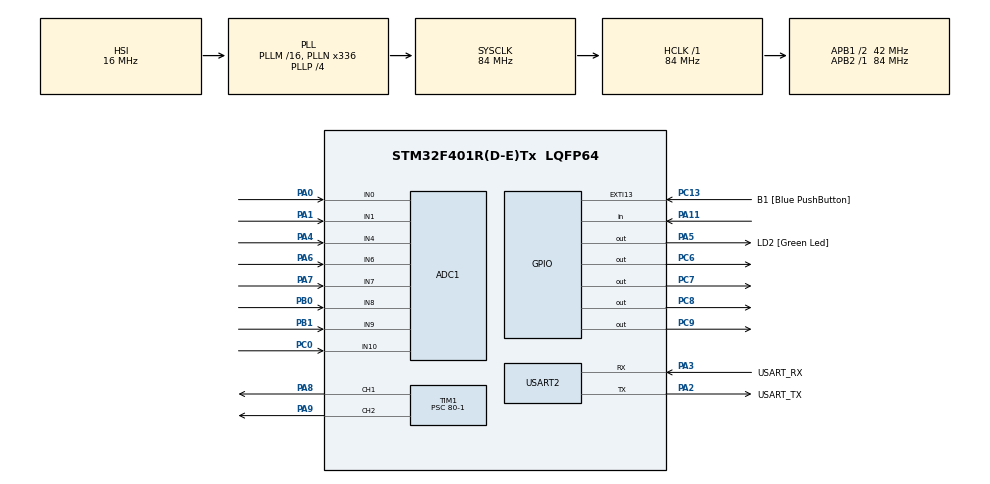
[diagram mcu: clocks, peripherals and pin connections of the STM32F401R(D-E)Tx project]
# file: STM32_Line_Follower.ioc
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ADC1.Channel-0\#ChannelRegularConversion=ADC_CHANNEL_0
ADC1.Channel-1\#ChannelRegularConversion=ADC_CHANNEL_1
ADC1.Channel-2\#ChannelRegularConversion=ADC_CHANNEL_4
ADC1.Channel-3\#ChannelRegularConversion=ADC_CHANNEL_6
ADC1.Channel-4\#ChannelRegularConversion=ADC_CHANNEL_7
ADC1.Channel-5\#ChannelRegularConversion=ADC_CHANNEL_8
ADC1.Channel-6\#ChannelRegularConversion=ADC_CHANNEL_9
ADC1.Channel-7\#ChannelRegularConversion=ADC_CHANNEL_10
ADC1.ContinuousConvMode=ENABLE
ADC1.DMAContinuousRequests=ENABLE
ADC1.NbrOfConversion=8
ADC1.NbrOfConversionFlag=1
ADC1.Rank-0\#ChannelRegularConversion=1
ADC1.Rank-1\#ChannelRegularConversion=2
ADC1.Rank-2\#ChannelRegularConversion=3
ADC1.Rank-3\#ChannelRegularConversion=4
ADC1.Rank-4\#ChannelRegularConversion=5
ADC1.Rank-5\#ChannelRegularConversion=6
ADC1.Rank-6\#ChannelRegularConversion=7
ADC1.Rank-7\#ChannelRegularConversion=8
ADC1.SamplingTime-0\#ChannelRegularConversion=ADC_SAMPLETIME_3CYCLES
ADC1.SamplingTime-1\#ChannelRegularConversion=ADC_SAMPLETIME_3CYCLES
ADC1.SamplingTime-2\#ChannelRegularConversion=ADC_SAMPLETIME_3CYCLES
ADC1.SamplingTime-3\#ChannelRegularConversion=ADC_SAMPLETIME_3CYCLES
ADC1.SamplingTime-4\#ChannelRegularConversion=ADC_SAMPLETIME_3CYCLES
ADC1.SamplingTime-5\#ChannelRegularConversion=ADC_SAMPLETIME_3CYCLES
ADC1.SamplingTime-6\#ChannelRegularConversion=ADC_SAMPLETIME_3CYCLES
ADC1.SamplingTime-7\#ChannelRegularConversion=ADC_SAMPLETIME_3CYCLES
ADC1.ScanConvMode=ENABLE
ADC1.master=1
Dma.ADC1.0.Direction=DMA_PERIPH_TO_MEMORY
Dma.ADC1.0.FIFOMode=DMA_FIFOMODE_DISABLE
Dma.ADC1.0.Instance=DMA2_Stream0
Dma.ADC1.0.MemDataAlignment=DMA_MDATAALIGN_HALFWORD
Dma.ADC1.0.MemInc=DMA_MINC_ENABLE
Dma.ADC1.0.Mode=DMA_CIRCULAR
Dma.ADC1.0.PeriphDataAlignment=DMA_PDATAALIGN_HALFWORD
Dma.ADC1.0.PeriphInc=DMA_PINC_DISABLE
Dma.ADC1.0.Priority=DMA_PRIORITY_LOW
Dma.Request0=ADC1
Mcu.Family=STM32F4
Mcu.Name=STM32F401R(D-E)Tx
Mcu.Package=LQFP64
NVIC.ADC_IRQn=true\:0\:0\:false\:false\:true\:true\:true\:true
NVIC.DMA2_Stream0_IRQn=true\:0\:0\:false\:false\:true\:false\:true\:true
NVIC.PriorityGroup=NVIC_PRIORITYGROUP_0
NVIC.TIM1_UP_TIM10_IRQn=true\:0\:0\:false\:false\:true\:true\:true\:true
PA0-WKUP.Signal=ADCx_IN0
PA1.Signal=ADCx_IN1
PA11.Signal=GPIO_Input
PA13.GPIO_Label=TMS
PA13.Mode=Serial_Wire
PA13.Signal=SYS_JTMS-SWDIO
PA14.GPIO_Label=TCK
PA14.Mode=Serial_Wire
PA14.Signal=SYS_JTCK-SWCLK
PA2.GPIO_Label=USART_TX
PA2.GPIO_Mode=GPIO_MODE_AF_PP
PA2.GPIO_PuPd=GPIO_NOPULL
PA2.GPIO_Speed=GPIO_SPEED_FREQ_LOW
PA2.Mode=Asynchronous
PA2.Signal=USART2_TX
PA3.GPIO_Label=USART_RX
PA3.GPIO_Mode=GPIO_MODE_AF_PP
PA3.GPIO_PuPd=GPIO_NOPULL
PA3.GPIO_Speed=GPIO_SPEED_FREQ_LOW
PA3.Mode=Asynchronous
PA3.Signal=USART2_RX
PA4.Signal=ADCx_IN4
PA5.GPIO_Label=LD2 [Green Led]
PA5.GPIO_Mode=GPIO_MODE_OUTPUT_PP
PA5.GPIO_PuPd=GPIO_NOPULL
PA5.GPIO_Speed=GPIO_SPEED_FREQ_LOW
PA5.Signal=GPIO_Output
PA6.Signal=ADCx_IN6
PA7.Signal=ADCx_IN7
PA8.Signal=S_TIM1_CH1
PA9.Signal=S_TIM1_CH2
PB0.Signal=ADCx_IN8
PB1.Signal=ADCx_IN9
PB3.GPIO_Label=SWO
PB3.Signal=SYS_JTDO-SWO
PC0.Signal=ADCx_IN10
PC13-ANTI_TAMP.GPIO_Label=B1 [Blue PushButton]
PC13-ANTI_TAMP.GPIO_ModeDefaultEXTI=GPIO_MODE_IT_FALLING
PC13-ANTI_TAMP.GPIO_PuPd=GPIO_NOPULL
PC13-ANTI_TAMP.Signal=GPXTI13
PC14-OSC32_IN.Mode=LSE-External-Oscillator
PC14-OSC32_IN.Signal=RCC_OSC32_IN
PC15-OSC32_OUT.Mode=LSE-External-Oscillator
PC15-OSC32_OUT.Signal=RCC_OSC32_OUT
PC6.Signal=GPIO_Output
PC7.Signal=GPIO_Output
PC8.Signal=GPIO_Output
PC9.Signal=GPIO_Output
PH0\ -\ OSC_IN.Mode=HSE-External-Clock-Source
PH0\ -\ OSC_IN.Signal=RCC_OSC_IN
PH1\ -\ OSC_OUT.Mode=HSE-External-Clock-Source
PH1\ -\ OSC_OUT.Signal=RCC_OSC_OUT
ProjectManager.HeapSize=0x200
ProjectManager.StackSize=0x400
ProjectManager.TargetToolchain=STM32CubeIDE
RCC.48MHZClocksFreq_Value=48000000
RCC.AHBFreq_Value=84000000
RCC.APB1CLKDivider=RCC_HCLK_DIV2
RCC.APB1Freq_Value=42000000
RCC.APB1TimFreq_Value=84000000
RCC.APB2Freq_Value=84000000
RCC.APB2TimFreq_Value=84000000
RCC.CortexFreq_Value=84000000
RCC.HCLKFreq_Value=84000000
RCC.HSE_VALUE=8000000
RCC.HSI_VALUE=16000000
RCC.PLLN=336
RCC.PLLP=RCC_PLLP_DIV4
RCC.PLLQ=7
RCC.SYSCLKFreq_VALUE=84000000
RCC.SYSCLKSource=RCC_SYSCLKSOURCE_PLLCLK
RCC.VCOOutputFreq_Value=336000000
SH.ADCx_IN0.0=ADC1_IN0,IN0
SH.ADCx_IN1.0=ADC1_IN1,IN1
SH.ADCx_IN10.0=ADC1_IN10,IN10
SH.ADCx_IN4.0=ADC1_IN4,IN4
SH.ADCx_IN6.0=ADC1_IN6,IN6
SH.ADCx_IN7.0=ADC1_IN7,IN7
SH.ADCx_IN8.0=ADC1_IN8,IN8
SH.ADCx_IN9.0=ADC1_IN9,IN9
SH.S_TIM1_CH1.0=TIM1_CH1,PWM Generation1 CH1
SH.S_TIM1_CH2.0=TIM1_CH2,PWM Generation2 CH2
TIM1.Channel-PWM\ Generation1\ CH1=TIM_CHANNEL_1
TIM1.Channel-PWM\ Generation2\ CH2=TIM_CHANNEL_2
TIM1.Period=100-1
TIM1.Prescaler=80-1
TIM1.Pulse-PWM\ Generation1\ CH1=0
TIM1.Pulse-PWM\ Generation2\ CH2=0
TIM10.Period=10000-1
TIM10.Prescaler=80-1
USART2.VirtualMode=VM_ASYNC
VP_TIM10_VS_ClockSourceINT.Mode=Enable_Timer
VP_TIM1_VS_ClockSourceINT.Mode=Internal
board=NUCLEO-F401RE

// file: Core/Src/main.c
/* USER CODE BEGIN Header */
/**
  ******************************************************************************
  * @file           : main.c
  * @brief          : Main program body
  * @Owner	    : Myat Noe Oo RAI-6 66011066
  ******************************************************************************
  * @attention
  *
  * Copyright (c) 2024 STMicroelectronics.
  * All rights reserved.
  *
  * This software is licensed under terms that can be found in the LICENSE file
  * in the root directory of this software component.
  * If no LICENSE file comes with this software, it is provided AS-IS.
  *
  ******************************************************************************
  * NOTE** -> Myat Noe Oo RAI code
  ******************************************************************************
  */
/* USER CODE END Header */
#include "main.h"

/* USER CODE BEGIN PD */
#define ADC_BUF_LEN 16
/* USER CODE END PD */

ADC_HandleTypeDef hadc1;
DMA_HandleTypeDef hdma_adc1;

TIM_HandleTypeDef htim1;
TIM_HandleTypeDef htim10;

UART_HandleTypeDef huart2;

/* USER CODE BEGIN PV */
uint16_t adc_current[ADC_BUF_LEN];
uint32_t sensors_max[8], sensors_min[8];
float norm_ss[8];
float previousRvalue = 0;
float previousLvalue = 0;
float previousR1value = 0;
float previousL1value = 0;
float previousR2value = 0;
float previousL2value = 0;
unsigned char text1[100];
float sum_norm_ss = 0;
float position = 0;
float error = 0;
float error_previous = 0;
float error_integral = 0;
float error_derivative = 0;
float setpoint = 0;
float rightMotor;
float leftMotor;
float kp = 0.1;//0.4
float ki = 0.00001;//0.0016
float kd = 0.025;//0.125 oscillate
float pidCalculate;
float linear_v = 80;
float dt = 0.01;

/* USER CODE END PV */

void SystemClock_Config(void);
static void MX_GPIO_Init(void);
static void MX_DMA_Init(void);
static void MX_USART2_UART_Init(void);
static void MX_ADC1_Init(void);
static void MX_TIM1_Init(void);
static void MX_TIM10_Init(void);

int main(void)
{
  /* USER CODE BEGIN 1 */
//	uint32_t sensors_max[8], sensors_min[8];
//
//	float norm_ss[8];
//	unsigned char text1[100];
//	float sum_norm_ss = 0;
//	float position = 0;
//	float pos = 0;
//	float final_pos = 0;
//	float map(float x, float in_min, float in_max, float out_min, float out_max) {
//			    return (x - in_min) * (out_max - out_min) / (in_max - in_min) + out_min;
//	}
  /* USER CODE END 1 */

  /* MCU Configuration--------------------------------------------------------*/

  /* Reset of all peripherals, Initializes the Flash interface and the Systick. */
  HAL_Init();

  /* Configure the system clock */
  SystemClock_Config();

  /* Initialize all configured peripherals */
  MX_GPIO_Init();
  MX_DMA_Init();
  MX_USART2_UART_Init();
  MX_ADC1_Init();
  MX_TIM1_Init();
  MX_TIM10_Init();
  /* USER CODE BEGIN 2 */
  HAL_ADC_Start_DMA(&hadc1, (uint32_t*)adc_current, ADC_BUF_LEN);
  for(int i=0; i<8; i++){
    	  sensors_min[i] = 4095;
    	  sensors_max[i]=0;
  }
  HAL_TIM_PWM_Start(&htim1 , TIM_CHANNEL_1);
  HAL_TIM_PWM_Start(&htim1 , TIM_CHANNEL_2);
  HAL_TIM_Base_Start_IT(&htim10);
  /* USER CODE END 2 */

  /* Infinite loop */
  /* USER CODE BEGIN WHILE */
  while (1)
     {
	  if (HAL_GPIO_ReadPin(GPIOA, GPIO_PIN_10) == 0){
	  	  	for(int i=0; i<8; i++){
	  	 	   sensors_min[i] = 4095;
	  	 	   sensors_max[i] = 0;
	  	    }
	  }
	  while(HAL_GPIO_ReadPin(GPIOA, GPIO_PIN_11) == 0){
		  for (int i=0; i<8; i++){
	  	     if (sensors_max[i]<adc_current[i]){
	  	   		sensors_max[i]=adc_current[i];
	  	  		}
	  	  	 if (sensors_min[i]>adc_current[i]){
	  	  		sensors_min[i]=adc_current[i];
	  	  	    }
	  	  }
	  }

    /* USER CODE END WHILE */

     }
}

void SystemClock_Config(void)
{
  RCC_OscInitTypeDef RCC_OscInitStruct = {0};
  RCC_ClkInitTypeDef RCC_ClkInitStruct = {0};

  /** Configure the main internal regulator output voltage
  */
  __HAL_RCC_PWR_CLK_ENABLE();
  __HAL_PWR_VOLTAGESCALING_CONFIG(PWR_REGULATOR_VOLTAGE_SCALE2);

  /** Initializes the RCC Oscillators according to the specified parameters
  * in the RCC_OscInitTypeDef structure.
  */
  RCC_OscInitStruct.OscillatorType = RCC_OSCILLATORTYPE_HSI;
  RCC_OscInitStruct.HSIState = RCC_HSI_ON;
  RCC_OscInitStruct.HSICalibrationValue = RCC_HSICALIBRATION_DEFAULT;
  RCC_OscInitStruct.PLL.PLLState = RCC_PLL_ON;
  RCC_OscInitStruct.PLL.PLLSource = RCC_PLLSOURCE_HSI;
  RCC_OscInitStruct.PLL.PLLM = 16;
  RCC_OscInitStruct.PLL.PLLN = 336;
  RCC_OscInitStruct.PLL.PLLP = RCC_PLLP_DIV4;
  RCC_OscInitStruct.PLL.PLLQ = 7;
  if (HAL_RCC_OscConfig(&RCC_OscInitStruct) != HAL_OK)
  {
    Error_Handler();
  }

  /** Initializes the CPU, AHB and APB buses clocks
  */
  RCC_ClkInitStruct.ClockType = RCC_CLOCKTYPE_HCLK|RCC_CLOCKTYPE_SYSCLK
                              |RCC_CLOCKTYPE_PCLK1|RCC_CLOCKTYPE_PCLK2;
  RCC_ClkInitStruct.SYSCLKSource = RCC_SYSCLKSOURCE_PLLCLK;
  RCC_ClkInitStruct.AHBCLKDivider = RCC_SYSCLK_DIV1;
  RCC_ClkInitStruct.APB1CLKDivider = RCC_HCLK_DIV2;
  RCC_ClkInitStruct.APB2CLKDivider = RCC_HCLK_DIV1;

  if (HAL_RCC_ClockConfig(&RCC_ClkInitStruct, FLASH_LATENCY_2) != HAL_OK)
  {
    Error_Handler();
  }
}

static void MX_ADC1_Init(void)
{

  ADC_ChannelConfTypeDef sConfig = {0};

  /** Configure the global features of the ADC (Clock, Resolution, Data Alignment and number of conversion)
  */
  hadc1.Instance = ADC1;
  hadc1.Init.ClockPrescaler = ADC_CLOCK_SYNC_PCLK_DIV4;
  hadc1.Init.Resolution = ADC_RESOLUTION_12B;
  hadc1.Init.ScanConvMode = ENABLE;
  hadc1.Init.ContinuousConvMode = ENABLE;
  hadc1.Init.DiscontinuousConvMode = DISABLE;
  hadc1.Init.ExternalTrigConvEdge = ADC_EXTERNALTRIGCONVEDGE_NONE;
  hadc1.Init.ExternalTrigConv = ADC_SOFTWARE_START;
  hadc1.Init.DataAlign = ADC_DATAALIGN_RIGHT;
  hadc1.Init.NbrOfConversion = 8;
  hadc1.Init.DMAContinuousRequests = ENABLE;
  hadc1.Init.EOCSelection = ADC_EOC_SINGLE_CONV;
  if (HAL_ADC_Init(&hadc1) != HAL_OK)
  {
    Error_Handler();
  }

  /** Configure for the selected ADC regular channel its corresponding rank in the sequencer and its sample time.
  */
  sConfig.Channel = ADC_CHANNEL_0;
  sConfig.Rank = 1;
  sConfig.SamplingTime = ADC_SAMPLETIME_3CYCLES;
  if (HAL_ADC_ConfigChannel(&hadc1, &sConfig) != HAL_OK)
  {
    Error_Handler();
  }

  /** Configure for the selected ADC regular channel its corresponding rank in the sequencer and its sample time.
  */
  sConfig.Channel = ADC_CHANNEL_1;
  sConfig.Rank = 2;
  if (HAL_ADC_ConfigChannel(&hadc1, &sConfig) != HAL_OK)
  {
    Error_Handler();
  }

  /** Configure for the selected ADC regular channel its corresponding rank in the sequencer and its sample time.
  */
  sConfig.Channel = ADC_CHANNEL_4;
  sConfig.Rank = 3;
  if (HAL_ADC_ConfigChannel(&hadc1, &sConfig) != HAL_OK)
  {
    Error_Handler();
  }

  /** Configure for the selected ADC regular channel its corresponding rank in the sequencer and its sample time.
  */
  sConfig.Channel = ADC_CHANNEL_6;
  sConfig.Rank = 4;
  if (HAL_ADC_ConfigChannel(&hadc1, &sConfig) != HAL_OK)
  {
    Error_Handler();
  }

  /** Configure for the selected ADC regular channel its corresponding rank in the sequencer and its sample time.
  */
  sConfig.Channel = ADC_CHANNEL_7;
  sConfig.Rank = 5;
  if (HAL_ADC_ConfigChannel(&hadc1, &sConfig) != HAL_OK)
  {
    Error_Handler();
  }

  /** Configure for the selected ADC regular channel its corresponding rank in the sequencer and its sample time.
  */
  sConfig.Channel = ADC_CHANNEL_8;
  sConfig.Rank = 6;
  if (HAL_ADC_ConfigChannel(&hadc1, &sConfig) != HAL_OK)
  {
    Error_Handler();
  }

  /** Configure for the selected ADC regular channel its corresponding rank in the sequencer and its sample time.
  */
  sConfig.Channel = ADC_CHANNEL_9;
  sConfig.Rank = 7;
  if (HAL_ADC_ConfigChannel(&hadc1, &sConfig) != HAL_OK)
  {
    Error_Handler();
  }

  /** Configure for the selected ADC regular channel its corresponding rank in the sequencer and its sample time.
  */
  sConfig.Channel = ADC_CHANNEL_10;
  sConfig.Rank = 8;
  if (HAL_ADC_ConfigChannel(&hadc1, &sConfig) != HAL_OK)
  {
    Error_Handler();
  }

}

static void MX_TIM1_Init(void)
{

  TIM_ClockConfigTypeDef sClockSourceConfig = {0};
  TIM_MasterConfigTypeDef sMasterConfig = {0};
  TIM_OC_InitTypeDef sConfigOC = {0};
  TIM_BreakDeadTimeConfigTypeDef sBreakDeadTimeConfig = {0};

  htim1.Instance = TIM1;
  htim1.Init.Prescaler = 80-1;
  htim1.Init.CounterMode = TIM_COUNTERMODE_UP;
  htim1.Init.Period = 100-1;
  htim1.Init.ClockDivision = TIM_CLOCKDIVISION_DIV1;
  htim1.Init.RepetitionCounter = 0;
  htim1.Init.AutoReloadPreload = TIM_AUTORELOAD_PRELOAD_DISABLE;
  if (HAL_TIM_Base_Init(&htim1) != HAL_OK)
  {
    Error_Handler();
  }
  sClockSourceConfig.ClockSource = TIM_CLOCKSOURCE_INTERNAL;
  if (HAL_TIM_ConfigClockSource(&htim1, &sClockSourceConfig) != HAL_OK)
  {
    Error_Handler();
  }
  if (HAL_TIM_PWM_Init(&htim1) != HAL_OK)
  {
    Error_Handler();
  }
  sMasterConfig.MasterOutputTrigger = TIM_TRGO_RESET;
  sMasterConfig.MasterSlaveMode = TIM_MASTERSLAVEMODE_DISABLE;
  if (HAL_TIMEx_MasterConfigSynchronization(&htim1, &sMasterConfig) != HAL_OK)
  {
    Error_Handler();
  }
  sConfigOC.OCMode = TIM_OCMODE_PWM1;
  sConfigOC.Pulse = 50;
  sConfigOC.OCPolarity = TIM_OCPOLARITY_HIGH;
  sConfigOC.OCNPolarity = TIM_OCNPOLARITY_HIGH;
  sConfigOC.OCFastMode = TIM_OCFAST_DISABLE;
  sConfigOC.OCIdleState = TIM_OCIDLESTATE_RESET;
  sConfigOC.OCNIdleState = TIM_OCNIDLESTATE_RESET;
  if (HAL_TIM_PWM_ConfigChannel(&htim1, &sConfigOC, TIM_CHANNEL_1) != HAL_OK)
  {
    Error_Handler();
  }
  if (HAL_TIM_PWM_ConfigChannel(&htim1, &sConfigOC, TIM_CHANNEL_2) != HAL_OK)
  {
    Error_Handler();
  }
  sBreakDeadTimeConfig.OffStateRunMode = TIM_OSSR_DISABLE;
  sBreakDeadTimeConfig.OffStateIDLEMode = TIM_OSSI_DISABLE;
  sBreakDeadTimeConfig.LockLevel = TIM_LOCKLEVEL_OFF;
  sBreakDeadTimeConfig.DeadTime = 0;
  sBreakDeadTimeConfig.BreakState = TIM_BREAK_DISABLE;
  sBreakDeadTimeConfig.BreakPolarity = TIM_BREAKPOLARITY_HIGH;
  sBreakDeadTimeConfig.AutomaticOutput = TIM_AUTOMATICOUTPUT_DISABLE;
  if (HAL_TIMEx_ConfigBreakDeadTime(&htim1, &sBreakDeadTimeConfig) != HAL_OK)
  {
    Error_Handler();
  }
  HAL_TIM_MspPostInit(&htim1);

}

static void MX_TIM10_Init(void)
{

  htim10.Instance = TIM10;
  htim10.Init.Prescaler = 80-1;
  htim10.Init.CounterMode = TIM_COUNTERMODE_UP;
  htim10.Init.Period = 10000-1;
  htim10.Init.ClockDivision = TIM_CLOCKDIVISION_DIV1;
  htim10.Init.AutoReloadPreload = TIM_AUTORELOAD_PRELOAD_DISABLE;
  if (HAL_TIM_Base_Init(&htim10) != HAL_OK)
  {
    Error_Handler();
  }

}

static void MX_USART2_UART_Init(void)
{

  huart2.Instance = USART2;
  huart2.Init.BaudRate = 115200;
  huart2.Init.WordLength = UART_WORDLENGTH_8B;
  huart2.Init.StopBits = UART_STOPBITS_1;
  huart2.Init.Parity = UART_PARITY_NONE;
  huart2.Init.Mode = UART_MODE_TX_RX;
  huart2.Init.HwFlowCtl = UART_HWCONTROL_NONE;
  huart2.Init.OverSampling = UART_OVERSAMPLING_16;
  if (HAL_UART_Init(&huart2) != HAL_OK)
  {
    Error_Handler();
  }

}

static void MX_DMA_Init(void)
{

  /* DMA controller clock enable */
  __HAL_RCC_DMA2_CLK_ENABLE();

  /* DMA interrupt init */
  /* DMA2_Stream0_IRQn interrupt configuration */
  HAL_NVIC_SetPriority(DMA2_Stream0_IRQn, 0, 0);
  HAL_NVIC_EnableIRQ(DMA2_Stream0_IRQn);

}

static void MX_GPIO_Init(void)
{
  GPIO_InitTypeDef GPIO_InitStruct = {0};

  /* GPIO Ports Clock Enable */
  __HAL_RCC_GPIOC_CLK_ENABLE();
  __HAL_RCC_GPIOH_CLK_ENABLE();
  __HAL_RCC_GPIOA_CLK_ENABLE();
  __HAL_RCC_GPIOB_CLK_ENABLE();

  /*Configure GPIO pin Output Level */
  HAL_GPIO_WritePin(LD2_GPIO_Port, LD2_Pin, GPIO_PIN_RESET);

  /*Configure GPIO pin Output Level */
  HAL_GPIO_WritePin(GPIOC, GPIO_PIN_6|GPIO_PIN_7|GPIO_PIN_8|GPIO_PIN_9, GPIO_PIN_RESET);

  /*Configure GPIO pin : B1_Pin */
  GPIO_InitStruct.Pin = B1_Pin;
  GPIO_InitStruct.Mode = GPIO_MODE_IT_FALLING;
  GPIO_InitStruct.Pull = GPIO_NOPULL;
  HAL_GPIO_Init(B1_GPIO_Port, &GPIO_InitStruct);

  /*Configure GPIO pin : LD2_Pin */
  GPIO_InitStruct.Pin = LD2_Pin;
  GPIO_InitStruct.Mode = GPIO_MODE_OUTPUT_PP;
  GPIO_InitStruct.Pull = GPIO_NOPULL;
  GPIO_InitStruct.Speed = GPIO_SPEED_FREQ_LOW;
  HAL_GPIO_Init(LD2_GPIO_Port, &GPIO_InitStruct);

  /*Configure GPIO pins : PC6 PC7 PC8 PC9 */
  GPIO_InitStruct.Pin = GPIO_PIN_6|GPIO_PIN_7|GPIO_PIN_8|GPIO_PIN_9;
  GPIO_InitStruct.Mode = GPIO_MODE_OUTPUT_PP;
  GPIO_InitStruct.Pull = GPIO_NOPULL;
  GPIO_InitStruct.Speed = GPIO_SPEED_FREQ_LOW;
  HAL_GPIO_Init(GPIOC, &GPIO_InitStruct);

  /*Configure GPIO pin : PA11 */
  GPIO_InitStruct.Pin = GPIO_PIN_11;
  GPIO_InitStruct.Mode = GPIO_MODE_INPUT;
  GPIO_InitStruct.Pull = GPIO_NOPULL;
  HAL_GPIO_Init(GPIOA, &GPIO_InitStruct);

}

/* USER CODE BEGIN 4 */
void HAL_TIM_PeriodElapsedCallback(TIM_HandleTypeDef *htim){
 if(htim == &htim10){
	 sum_norm_ss=0;

	 for (int i=0;i<8;i++){
		 norm_ss[i]=1-((float)adc_current[i]-(float)sensors_min[i])/ ((float)sensors_max[i]-(float)sensors_min[i]);
		 sum_norm_ss += norm_ss[i];
	 }

	 position = ((-50*norm_ss[0])+(-35.72*norm_ss[1])+(-21.44*norm_ss[2])+(-7.16*norm_ss[3])+(7.16*norm_ss[4])+(21.44*norm_ss[5])+(35.72*norm_ss[6])+(50*norm_ss[7]));
	 sprintf(&text1, "%.2f,%.2f,%.2f,%.2f,%.2f,%.2f,%.2f,%.2f\r\n", norm_ss[0],norm_ss[1],norm_ss[2],norm_ss[3],norm_ss[4],norm_ss[5],norm_ss[6],norm_ss[7]);
//  sprintf(&text1, "%.2f,%.2f\r\n", pidCalculate,position);
	 HAL_UART_Transmit(&huart2, text1, strlen(text1), 1000);
//  if(position < -50) position = -50;
//  if(position > 50) position = 50;

	 error = position - setpoint;
	 error_integral += error*dt;
	 error_derivative = (error - error_previous)/dt;
	 error_previous = error ;
	 pidCalculate = kp*error + ki*error_integral + kd*error_derivative;
	 if (pidCalculate > 160) pidCalculate = 160;
	 if (pidCalculate < -160) pidCalculate = -160;
	 rightMotor = linear_v - pidCalculate/2;
	 leftMotor = linear_v + pidCalculate/2;
	 if (rightMotor > 90) rightMotor = 90;
	 if (rightMotor < -90) rightMotor = -90;
	 if (leftMotor > 90) leftMotor = 90;
	 if (leftMotor < -90) leftMotor = -90;
	 if(norm_ss[2]>0.5||norm_ss[3]>0.5||norm_ss[4]>0.5||norm_ss[5]>0.5){

		 if (leftMotor >= 0){
//			 TIM3->CCR1 = leftMotor;
//			 TIM3->CCR2 = 0;
			 HAL_GPIO_WritePin(GPIOC, GPIO_PIN_6, 1);
			 HAL_GPIO_WritePin(GPIOC, GPIO_PIN_7, 0);
//			 HAL_GPIO_WritePin(GPIOC, GPIO_PIN_8, 1);
//			 HAL_GPIO_WritePin(GPIOC, GPIO_PIN_9, 0);
			 TIM1->CCR1 = leftMotor;
			 //TIM1->CCR1 = linear_v;
			 //TIM1->CCR2 = 100;
		 }
		 else if (leftMotor < 0){
			 HAL_GPIO_WritePin(GPIOC, GPIO_PIN_6, 0);
			 HAL_GPIO_WritePin(GPIOC, GPIO_PIN_7, 1);
			 TIM1->CCR1 = leftMotor;
			 //TIM1->CCR1 = -1*linear_v;
//			 TIM3->CCR1 = 0;
//			 TIM3->CCR2 = -1*leftMotor;
		 }
		 if (rightMotor >= 0){
//			 TIM3->CCR3 = rightMotor;
//			 TIM3->CCR4 = 0;
			 HAL_GPIO_WritePin(GPIOC, GPIO_PIN_8, 1);
			 HAL_GPIO_WritePin(GPIOC, GPIO_PIN_9, 0);
			 TIM1->CCR2 = rightMotor;
			 //TIM1->CCR2 = linear_v;
		 }
		 else if (rightMotor < 0){
//		 	 TIM3->CCR3 = 0;
//		 	 TIM3->CCR4 = -1*rightMotor;
			 HAL_GPIO_WritePin(GPIOC, GPIO_PIN_8, 0);
			 HAL_GPIO_WritePin(GPIOC, GPIO_PIN_9, 1);
			 TIM1->CCR2 = rightMotor;
			 //TIM1->CCR2 = -1*linear_v;
	 	 }
	 }
	else{
		if(previousLvalue > 0.5 || previousL2value > 0.5 || previousL1value > 0.5){

//			TIM3->CCR1 = 70;
//			TIM3->CCR2 = 0;
			HAL_GPIO_WritePin(GPIOC, GPIO_PIN_6, 1);
			HAL_GPIO_WritePin(GPIOC, GPIO_PIN_7, 0);
			TIM1->CCR1 = 70;
//			TIM3->CCR3 = 0;
//			TIM3->CCR4 = 70;
			HAL_GPIO_WritePin(GPIOC, GPIO_PIN_8, 0);
			HAL_GPIO_WritePin(GPIOC, GPIO_PIN_9, 1);
			TIM1->CCR2 = 70;
		}
		if(previousRvalue > 0.5 || previousR2value > 0.5 || previousR1value > 0.5){

//			TIM3->CCR1 = 0;
//			TIM3->CCR2 = 70;
			HAL_GPIO_WritePin(GPIOC, GPIO_PIN_6, 0);
			HAL_GPIO_WritePin(GPIOC, GPIO_PIN_7, 1);
			TIM1->CCR1 = 70;
			HAL_GPIO_WritePin(GPIOC, GPIO_PIN_8, 1);
			HAL_GPIO_WritePin(GPIOC, GPIO_PIN_9, 0);
			TIM1->CCR2 = 70;
//			TIM3->CCR3 = 70;
//			TIM3->CCR4 = 0;
		}
	}
	 previousRvalue = norm_ss[2];
	 previousR1value = norm_ss[1];
	 previousR2value = norm_ss[0];
	 previousLvalue = norm_ss[5];
	 previousL1value = norm_ss[6];
	 previousL2value = norm_ss[7];

}
}
/* USER CODE END 4 */

void Error_Handler(void)
{
  __disable_irq();
  while (1)
  {
  }
}
